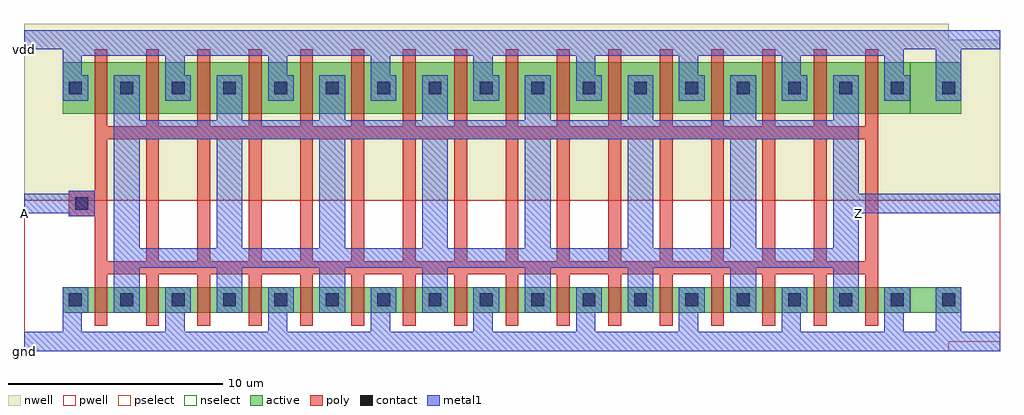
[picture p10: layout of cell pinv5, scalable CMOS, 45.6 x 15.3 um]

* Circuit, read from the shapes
.subckt pinv5 A Z gnd vdd
M1 Z A gnd gnd nfet w=1.2u l=0.6u m=16
M2 Z A vdd vdd pfet w=2.4u l=0.6u m=16
.ends

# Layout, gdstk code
from math import pi, radians
import gdstk
lib = gdstk.Library(unit=1e-6, precision=1e-09)
def R(c, l, rs):  # rectangles x0, y0, x1, y1
    for r in rs: c.add(gdstk.rectangle(r[:2], r[2:], *l))
def A(c, l, x, y, w, h, nx, ny, dx, dy):  # array of equal rectangles
    R(c, l, [(x+i*dx, y+j*dy, x+i*dx+w, y+j*dy+h) for i in range(nx) for j in range(ny)])
contact = (25, 0)
pwell = (41, 0)
nwell = (42, 0)
active = (43, 0)
pselect = (44, 0)
nselect = (45, 0)
poly = (46, 0)
metal1 = (49, 0)

active_contact_metal1_1x = lib.new_cell('active_contact_metal1_1x1')
R(active_contact_metal1_1x, contact, [(0.3,0.3,0.9,0.9)])
R(active_contact_metal1_1x, active, [(0,0,1.2,1.2)])
R(active_contact_metal1_1x, metal1, [(0,0,1.2,1.2)])

nmos_m16_w1_2_a_p = lib.new_cell('nmos_m16_w1_2_a_p')
R(nmos_m16_w1_2_a_p, pwell, [(0,0,43.2,4.8)])
R(nmos_m16_w1_2_a_p, active, [(1.8,1.8,41.4,3)])
R(nmos_m16_w1_2_a_p, nselect, [(1.8,1.8,41.4,3)])
A(nmos_m16_w1_2_a_p, poly, 3.3, 1.2, 0.6, 2.4, 16, 1, 2.4, 0)
R(nmos_m16_w1_2_a_p, poly, [(3.3,0.6,39.9,1.2)])
A(nmos_m16_w1_2_a_p, metal1, 4.65, 0, 4.8, 0.9, 7, 1, 4.8, 0)
A(nmos_m16_w1_2_a_p, metal1, 4.2, 0.45, 0.9, 0.45, 7, 1, 4.8, 0)
A(nmos_m16_w1_2_a_p, metal1, 9, 0.45, 0.9, 1.35, 7, 1, 4.8, 0)
A(nmos_m16_w1_2_a_p, metal1, 4.2, 0.9, 0.9, 0.9, 7, 1, 4.8, 0)
A(nmos_m16_w1_2_a_p, metal1, 1.8, 1.8, 1.2, 1.2, 17, 1, 2.4, 0)
A(nmos_m16_w1_2_a_p, metal1, 1.8, 1.8, 0.9, 2.1, 8, 1, 4.8, 0)
A(nmos_m16_w1_2_a_p, metal1, 6.6, 1.8, 0.9, 2.55, 8, 1, 4.8, 0)
A(nmos_m16_w1_2_a_p, metal1, 1.8, 3.9, 0.9, 0.45, 8, 1, 4.8, 0)
A(nmos_m16_w1_2_a_p, metal1, 2.25, 3.9, 4.8, 0.9, 8, 1, 4.8, 0)
R(nmos_m16_w1_2_a_p, metal1, [(4.2,0,5.1,0.9), (4.2,0,38.7,0.9), (9,0,9.9,0.9), (9,0,9.9,0.9), (13.8,0,14.7,0.9), (13.8,0,14.7,0.9), (18.6,0,19.5,0.9), (18.6,0,19.5,0.9), (23.4,0,24.3,0.9), (23.4,0,24.3,0.9), (28.2,0,29.1,0.9), (28.2,0,29.1,0.9), (33,0,33.9,0.9), (33,0,33.9,0.9), (37.8,0,38.7,0.9), (1.8,3.9,2.7,4.8), (1.8,3.9,41.1,4.8), (6.6,3.9,7.5,4.8), (6.6,3.9,7.5,4.8), (11.4,3.9,12.3,4.8), (11.4,3.9,12.3,4.8), (16.2,3.9,17.1,4.8), (16.2,3.9,17.1,4.8), (21,3.9,21.9,4.8), (21,3.9,21.9,4.8), (25.8,3.9,26.7,4.8), (25.8,3.9,26.7,4.8), (30.6,3.9,31.5,4.8), (30.6,3.9,31.5,4.8), (35.4,3.9,36.3,4.8), (35.4,3.9,36.3,4.8), (40.2,3.9,41.1,4.8)])
nmos_m16_w1_2_a_p.add(gdstk.Reference(active_contact_metal1_1x, (1.8,1.8)))
nmos_m16_w1_2_a_p.add(gdstk.Reference(active_contact_metal1_1x, (4.2,1.8)))
nmos_m16_w1_2_a_p.add(gdstk.Reference(active_contact_metal1_1x, (6.6,1.8)))
nmos_m16_w1_2_a_p.add(gdstk.Reference(active_contact_metal1_1x, (9,1.8)))
nmos_m16_w1_2_a_p.add(gdstk.Reference(active_contact_metal1_1x, (11.4,1.8)))
nmos_m16_w1_2_a_p.add(gdstk.Reference(active_contact_metal1_1x, (13.8,1.8)))
nmos_m16_w1_2_a_p.add(gdstk.Reference(active_contact_metal1_1x, (16.2,1.8)))
nmos_m16_w1_2_a_p.add(gdstk.Reference(active_contact_metal1_1x, (18.6,1.8)))
nmos_m16_w1_2_a_p.add(gdstk.Reference(active_contact_metal1_1x, (21,1.8)))
nmos_m16_w1_2_a_p.add(gdstk.Reference(active_contact_metal1_1x, (23.4,1.8)))
nmos_m16_w1_2_a_p.add(gdstk.Reference(active_contact_metal1_1x, (25.8,1.8)))
nmos_m16_w1_2_a_p.add(gdstk.Reference(active_contact_metal1_1x, (28.2,1.8)))
nmos_m16_w1_2_a_p.add(gdstk.Reference(active_contact_metal1_1x, (30.6,1.8)))
nmos_m16_w1_2_a_p.add(gdstk.Reference(active_contact_metal1_1x, (33,1.8)))
nmos_m16_w1_2_a_p.add(gdstk.Reference(active_contact_metal1_1x, (35.4,1.8)))
nmos_m16_w1_2_a_p.add(gdstk.Reference(active_contact_metal1_1x, (37.8,1.8)))
nmos_m16_w1_2_a_p.add(gdstk.Reference(active_contact_metal1_1x, (40.2,1.8)))
nmos_m16_w1_2_a_p.add(gdstk.Label('S', (1.8,3.9), layer=49, texttype=0))
nmos_m16_w1_2_a_p.add(gdstk.Label('D', (4.2,0), layer=49, texttype=0))
nmos_m16_w1_2_a_p.add(gdstk.Label('G', (3.3,0.6), layer=46, texttype=0))

pmos_m16_w2_4_a_p = lib.new_cell('pmos_m16_w2_4_a_p')
R(pmos_m16_w2_4_a_p, nwell, [(0,0,43.2,6)])
R(pmos_m16_w2_4_a_p, active, [(1.8,1.8,41.4,4.2)])
R(pmos_m16_w2_4_a_p, pselect, [(1.8,1.8,41.4,4.2)])
A(pmos_m16_w2_4_a_p, poly, 3.3, 1.2, 0.6, 3.6, 16, 1, 2.4, 0)
R(pmos_m16_w2_4_a_p, poly, [(3.3,0.6,39.9,1.2)])
A(pmos_m16_w2_4_a_p, metal1, 4.65, 0.6, 4.8, 0.9, 7, 1, 4.8, 0)
A(pmos_m16_w2_4_a_p, metal1, 4.2, 1.05, 0.9, 0.45, 7, 1, 4.8, 0)
A(pmos_m16_w2_4_a_p, metal1, 9, 1.05, 0.9, 1.35, 7, 1, 4.8, 0)
A(pmos_m16_w2_4_a_p, metal1, 4.2, 1.5, 0.9, 0.9, 7, 1, 4.8, 0)
A(pmos_m16_w2_4_a_p, metal1, 1.8, 2.4, 1.2, 1.2, 17, 1, 2.4, 0)
A(pmos_m16_w2_4_a_p, metal1, 1.8, 2.4, 0.9, 2.1, 8, 1, 4.8, 0)
A(pmos_m16_w2_4_a_p, metal1, 6.6, 2.4, 0.9, 2.55, 8, 1, 4.8, 0)
A(pmos_m16_w2_4_a_p, metal1, 1.8, 4.5, 0.9, 0.45, 8, 1, 4.8, 0)
A(pmos_m16_w2_4_a_p, metal1, 2.25, 4.5, 4.8, 0.9, 8, 1, 4.8, 0)
R(pmos_m16_w2_4_a_p, metal1, [(4.2,0.6,5.1,1.5), (4.2,0.6,38.7,1.5), (9,0.6,9.9,1.5), (9,0.6,9.9,1.5), (13.8,0.6,14.7,1.5), (13.8,0.6,14.7,1.5), (18.6,0.6,19.5,1.5), (18.6,0.6,19.5,1.5), (23.4,0.6,24.3,1.5), (23.4,0.6,24.3,1.5), (28.2,0.6,29.1,1.5), (28.2,0.6,29.1,1.5), (33,0.6,33.9,1.5), (33,0.6,33.9,1.5), (37.8,0.6,38.7,1.5), (1.8,4.5,2.7,5.4), (1.8,4.5,41.1,5.4), (6.6,4.5,7.5,5.4), (6.6,4.5,7.5,5.4), (11.4,4.5,12.3,5.4), (11.4,4.5,12.3,5.4), (16.2,4.5,17.1,5.4), (16.2,4.5,17.1,5.4), (21,4.5,21.9,5.4), (21,4.5,21.9,5.4), (25.8,4.5,26.7,5.4), (25.8,4.5,26.7,5.4), (30.6,4.5,31.5,5.4), (30.6,4.5,31.5,5.4), (35.4,4.5,36.3,5.4), (35.4,4.5,36.3,5.4), (40.2,4.5,41.1,5.4)])
pmos_m16_w2_4_a_p.add(gdstk.Reference(active_contact_metal1_1x, (1.8,2.4)))
pmos_m16_w2_4_a_p.add(gdstk.Reference(active_contact_metal1_1x, (4.2,2.4)))
pmos_m16_w2_4_a_p.add(gdstk.Reference(active_contact_metal1_1x, (6.6,2.4)))
pmos_m16_w2_4_a_p.add(gdstk.Reference(active_contact_metal1_1x, (9,2.4)))
pmos_m16_w2_4_a_p.add(gdstk.Reference(active_contact_metal1_1x, (11.4,2.4)))
pmos_m16_w2_4_a_p.add(gdstk.Reference(active_contact_metal1_1x, (13.8,2.4)))
pmos_m16_w2_4_a_p.add(gdstk.Reference(active_contact_metal1_1x, (16.2,2.4)))
pmos_m16_w2_4_a_p.add(gdstk.Reference(active_contact_metal1_1x, (18.6,2.4)))
pmos_m16_w2_4_a_p.add(gdstk.Reference(active_contact_metal1_1x, (21,2.4)))
pmos_m16_w2_4_a_p.add(gdstk.Reference(active_contact_metal1_1x, (23.4,2.4)))
pmos_m16_w2_4_a_p.add(gdstk.Reference(active_contact_metal1_1x, (25.8,2.4)))
pmos_m16_w2_4_a_p.add(gdstk.Reference(active_contact_metal1_1x, (28.2,2.4)))
pmos_m16_w2_4_a_p.add(gdstk.Reference(active_contact_metal1_1x, (30.6,2.4)))
pmos_m16_w2_4_a_p.add(gdstk.Reference(active_contact_metal1_1x, (33,2.4)))
pmos_m16_w2_4_a_p.add(gdstk.Reference(active_contact_metal1_1x, (35.4,2.4)))
pmos_m16_w2_4_a_p.add(gdstk.Reference(active_contact_metal1_1x, (37.8,2.4)))
pmos_m16_w2_4_a_p.add(gdstk.Reference(active_contact_metal1_1x, (40.2,2.4)))
pmos_m16_w2_4_a_p.add(gdstk.Label('S', (1.8,4.5), layer=49, texttype=0))
pmos_m16_w2_4_a_p.add(gdstk.Label('D', (4.2,0.6), layer=49, texttype=0))
pmos_m16_w2_4_a_p.add(gdstk.Label('G', (3.3,0.6), layer=46, texttype=0))

poly_contact_metal1_1x1 = lib.new_cell('poly_contact_metal1_1x1')
R(poly_contact_metal1_1x1, contact, [(0.3,0.3,0.9,0.9)])
R(poly_contact_metal1_1x1, poly, [(0,0,1.2,1.2)])
R(poly_contact_metal1_1x1, metal1, [(0,0,1.2,1.2)])

pinv5 = lib.new_cell('pinv5')
R(pinv5, pwell, [(0,0,45.6,6.6)])
R(pinv5, nwell, [(0,6.6,45.6,14.1)])
R(pinv5, active, [(1.8,1.35,43.8,2.55), (1.8,10.65,43.8,13.05)])
R(pinv5, pselect, [(41.4,1.35,43.8,2.55)])
R(pinv5, nselect, [(41.4,10.65,43.8,13.05)])
A(pinv5, poly, 3.3, 3.15, 0.6, 6.9, 16, 1, 2.4, 0)
R(pinv5, poly, [(3.3,5.85,3.9,7.05)])
A(pinv5, metal1, 4.2, 2.55, 1.2, 8.85, 8, 1, 4.8, 0)
R(pinv5, metal1, [(0,-0.45,45.6,0.45), (42.6,0.45,43.8,2.25), (0,6,2.1,6.9), (39,6,45.6,6.9), (42.6,11.25,43.8,13.65), (0,13.65,45.6,14.55)])
pinv5.add(gdstk.Reference(nmos_m16_w1_2_a_p, (0,4.35), x_reflection=True))
pinv5.add(gdstk.Reference(pmos_m16_w2_4_a_p, (0,8.85)))
pinv5.add(gdstk.Reference(active_contact_metal1_1x, (42.6,11.25)))
pinv5.add(gdstk.Reference(active_contact_metal1_1x, (42.6,1.35)))
pinv5.add(gdstk.Reference(poly_contact_metal1_1x1, (3.3,5.85), rotation=pi/2))
pinv5.add(gdstk.Label('A', (0,6), layer=49, texttype=0))
pinv5.add(gdstk.Label('Z', (39,6), layer=49, texttype=0))
pinv5.add(gdstk.Label('vdd', (0,13.65), layer=49, texttype=0))
pinv5.add(gdstk.Label('gnd', (0,-0.45), layer=49, texttype=0))

lib.write_gds('pinv5.gds')
